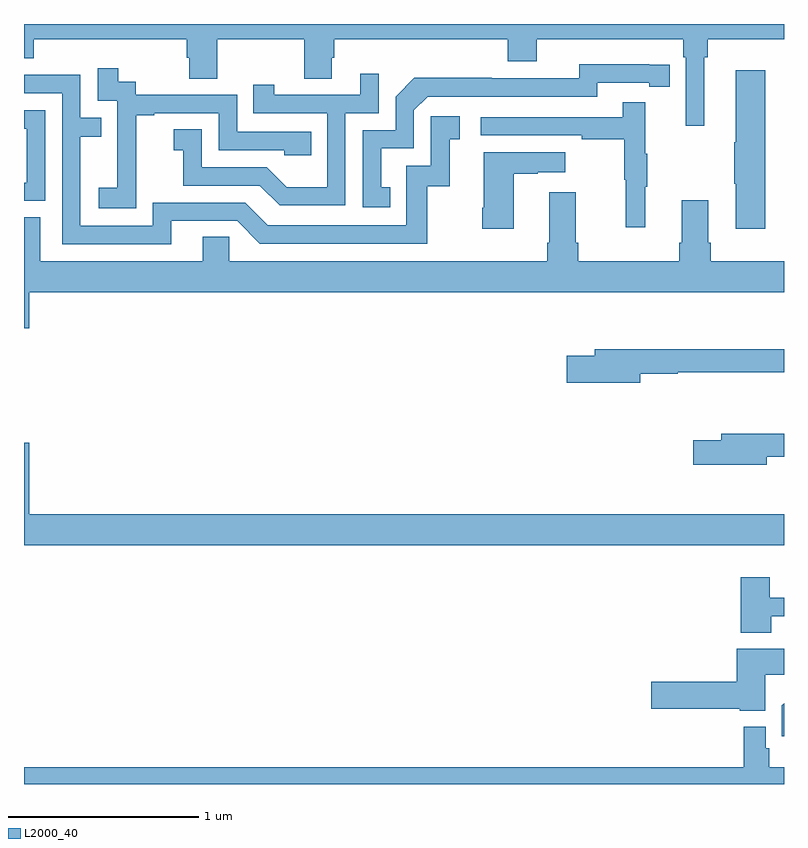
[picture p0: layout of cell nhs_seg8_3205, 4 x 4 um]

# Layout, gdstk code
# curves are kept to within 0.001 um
import gdstk
lib = gdstk.Library(unit=1e-6, precision=1e-09)
def P(c, l, *ps):  # polygons
    for p in ps: c.add(gdstk.Polygon(p, *l))
L2000_40 = (2000, 40)

nhs_seg8_3205 = lib.new_cell('nhs_seg8_3205')
P(nhs_seg8_3205, L2000_40, [(312.58,1129.724),(312.599,1129.724),(312.599,1129.82),(313,1129.82),(313,1129.9),(309,1129.9),(309,1129.721),(309.05,1129.721),(309.05,1129.82),(309.857,1129.82),(309.857,1129.722),(309.869,1129.722),(309.869,1129.612),(310.017,1129.612),(310.017,1129.82),(310.474,1129.82),(310.474,1129.612),(310.621,1129.612),(310.621,1129.722),(310.634,1129.722),(310.634,1129.82),(311.546,1129.82),(311.546,1129.703),(311.698,1129.703),(311.698,1129.82),(312.47,1129.82),(312.47,1129.724),(312.483,1129.724),(312.483,1129.365),(312.58,1129.365)],
  [(310.928,1129.041),(310.879,1129.041),(310.879,1129.245),(311.052,1129.245),(311.052,1129.446),(311.124,1129.518),(312.018,1129.518),(312.018,1129.59),(312.29,1129.59),(312.29,1129.57),(312.398,1129.57),(312.398,1129.686),(311.922,1129.687),(311.922,1129.614),(311.462,1129.614),(311.462,1129.616),(311.054,1129.616),(310.956,1129.518),(310.956,1129.341),(310.782,1129.341),(310.782,1128.936),(310.928,1128.936)],
  [(309.591,1129.135),(309.59,1129.135),(309.59,1129.419),(309.685,1129.419),(309.685,1129.431),(310.026,1129.431),(310.026,1129.236),(310.371,1129.236),(310.371,1129.209),(310.511,1129.209),(310.511,1129.332),(310.122,1129.332),(310.122,1129.527),(309.588,1129.527),(309.588,1129.596),(309.496,1129.596),(309.496,1129.666),(309.387,1129.666),(309.387,1129.497),(309.492,1129.497),(309.492,1129.268),(309.491,1129.268),(309.491,1129.039),(309.393,1129.039),(309.393,1128.929),(309.591,1128.929)],
  [(312.9,1129.657),(312.746,1129.657),(312.746,1129.277),(312.739,1129.277),(312.739,1129.06),(312.746,1129.06),(312.746,1128.822),(312.9,1128.822)],
  [(310.692,1129.431),(310.866,1129.431),(310.866,1129.639),(310.769,1129.639),(310.769,1129.527),(310.318,1129.527),(310.318,1129.579),(310.207,1129.579),(310.207,1129.431),(310.596,1129.431),(310.596,1129.042),(310.382,1129.042),(310.278,1129.146),(309.936,1129.146),(309.936,1129.345),(309.789,1129.345),(309.789,1129.235),(309.838,1129.235),(309.838,1129.05),(310.241,1129.05),(310.346,1128.945),(310.692,1128.945)],
  [(309.775,1128.864),(310.122,1128.864),(310.242,1128.744),(311.122,1128.744),(311.122,1129.047),(311.24,1129.047),(311.24,1129.293),(311.293,1129.293),(311.293,1129.414),(311.142,1129.414),(311.142,1129.155),(311.013,1129.155),(311.013,1128.84),(310.284,1128.84),(310.164,1128.96),(309.678,1128.96),(309.678,1128.837),(309.297,1128.837),(309.297,1129.306),(309.407,1129.306),(309.407,1129.407),(309.297,1129.407),(309.297,1129.632),(309,1129.632),(309,1129.536),(309.201,1129.536),(309.201,1128.741),(309.775,1128.741)],
  [(312.269,1129.043),(312.28,1129.043),(312.28,1129.217),(312.269,1129.217),(312.269,1129.489),(312.151,1129.489),(312.151,1129.41),(311.403,1129.41),(311.403,1129.314),(311.935,1129.314),(311.935,1129.294),(312.159,1129.294),(312.159,1129.08),(312.166,1129.08),(312.166,1128.831),(312.269,1128.831)],
  [(309.111,1129.446),(309,1129.446),(309,1129.35),(309.015,1129.35),(309.015,1129.065),(309,1129.065),(309,1128.969),(309.111,1128.969)],
  [(311.578,1129.111),(311.705,1129.111),(311.705,1129.121),(311.848,1129.121),(311.848,1129.225),(311.42,1129.225),(311.42,1128.934),(311.413,1128.934),(311.413,1128.822),(311.578,1128.822)],
  [(309.028,1128.488),(313,1128.488),(313,1128.652),(312.614,1128.652),(312.614,1128.748),(312.601,1128.748),(312.601,1128.973),(312.461,1128.973),(312.461,1128.748),(312.449,1128.748),(312.449,1128.652),(311.918,1128.652),(311.918,1128.748),(311.905,1128.748),(311.905,1129.015),(311.765,1129.015),(311.765,1128.748),(311.753,1128.748),(311.753,1128.652),(310.08,1128.652),(310.08,1128.779),(309.941,1128.779),(309.941,1128.652),(309.085,1128.652),(309.085,1128.884),(309,1128.884),(309,1128.3),(309.028,1128.3)],
  [(312.244,1128.058),(312.44,1128.058),(312.44,1128.066),(313,1128.066),(313,1128.187),(312.005,1128.187),(312.005,1128.153),(311.856,1128.153),(311.856,1128.011),(312.244,1128.011)],
  [(312.91,1127.622),(313,1127.622),(313,1127.743),(312.671,1127.743),(312.671,1127.709),(312.522,1127.709),(312.522,1127.579),(312.91,1127.579)],
  [(313,1127.32),(309.028,1127.32),(309.028,1127.695),(309,1127.695),(309,1127.156),(313,1127.156)],
  [(312.933,1126.782),(313,1126.782),(313,1126.881),(312.925,1126.881),(312.925,1126.987),(312.773,1126.987),(312.773,1126.697),(312.933,1126.697)],
  [(312.901,1126.474),(313,1126.474),(313,1126.612),(312.752,1126.612),(312.752,1126.439),(312.3,1126.439),(312.3,1126.297),(312.768,1126.297),(312.768,1126.286),(312.901,1126.286)],
  [(313,1126.326),(312.988,1126.314),(312.988,1126.152),(313,1126.152)],
  [(313,1125.988),(312.923,1125.988),(312.923,1126.089),(312.903,1126.089),(312.903,1126.201),(312.787,1126.201),(312.787,1125.988),(309,1125.988),(309,1125.9),(313,1125.9)])

lib.write_gds('nhs_seg8_3205.gds')
